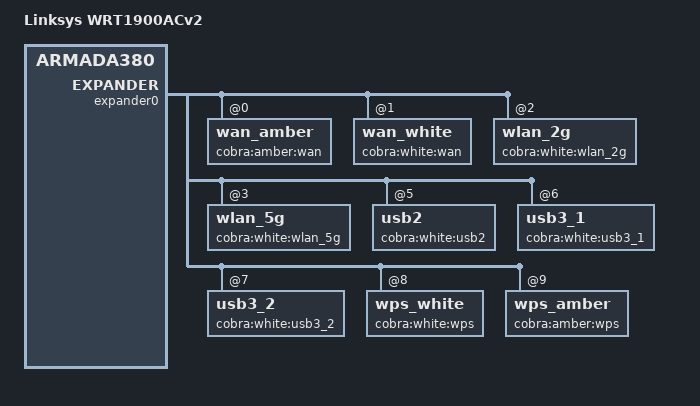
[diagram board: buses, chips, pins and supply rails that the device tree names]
// SPDX-License-Identifier: (GPL-2.0 OR MIT)
/*
 * Device Tree file for the Linksys WRT1900ACv2 (Cobra)
 *
 * Copyright (C) 2015 Imre Kaloz <kaloz@openwrt.org>
 */

/dts-v1/;
#include "armada-385-linksys.dtsi"

/ {
	model = "Linksys WRT1900ACv2";
	compatible = "linksys,cobra", "linksys,armada385", "marvell,armada385",
		     "marvell,armada380";
};

&expander0 {
	wan_amber@0 {
		label = "cobra:amber:wan";
		reg = <0x0>;
	};

	wan_white@1 {
		label = "cobra:white:wan";
		reg = <0x1>;
	};

	wlan_2g@2 {
		label = "cobra:white:wlan_2g";
		reg = <0x2>;
	};

	wlan_5g@3 {
		label = "cobra:white:wlan_5g";
		reg = <0x3>;
	};

	usb2@5 {
		label = "cobra:white:usb2";
		reg = <0x5>;
	};

	usb3_1@6 {
		label = "cobra:white:usb3_1";
		reg = <0x6>;
	};

	usb3_2@7 {
		label = "cobra:white:usb3_2";
		reg = <0x7>;
	};

	wps_white@8 {
		label = "cobra:white:wps";
		reg = <0x8>;
	};

	wps_amber@9 {
		label = "cobra:amber:wps";
		reg = <0x9>;
	};
};

&gpio_leds {
	led-power {
		label = "cobra:white:power";
	};

	led-sata {
		label = "cobra:white:sata";
	};
};

&nand {
	/* 128MiB */
	partitions {
		compatible = "fixed-partitions";
		#address-cells = <1>;
		#size-cells = <1>;

		partition@0 {
			label = "u-boot";
			reg = <0x0000000 0x200000>;  /* 2MiB */
			read-only;
		};

		partition@100000 {
			label = "u_env";
			reg = <0x200000 0x40000>;    /* 256KiB */
		};

		partition@140000 {
			label = "s_env";
			reg = <0x240000 0x40000>;    /* 256KiB */
		};

		partition@900000 {
			label = "devinfo";
			reg = <0x900000 0x100000>;   /* 1MiB */
			read-only;
		};

		/* kernel1 overlaps with rootfs1 by design */
		partition@a00000 {
			label = "kernel1";
			reg = <0xa00000 0x2800000>;  /* 40MiB */
		};

		partition@1000000 {
			label = "rootfs1";
			reg = <0x1000000 0x2200000>;  /* 34MiB */
		};

		/* kernel2 overlaps with rootfs2 by design */
		partition@3200000 {
			label = "kernel2";
			reg = <0x3200000 0x2800000>; /* 40MiB */
		};

		partition@3800000 {
			label = "rootfs2";
			reg = <0x3800000 0x2200000>; /* 34MiB */
		};

		/*
		 * 38MiB, last MiB is for the BBT, not writable
		 */
		partition@5a00000 {
			label = "syscfg";
			reg = <0x5a00000 0x2600000>;
		};

		/*
		 * Unused area between "s_env" and "devinfo".
		 * Moved here because otherwise the renumbered
		 * partitions would break the bootloader
		 * supplied bootargs
		 */
		partition@180000 {
			label = "unused_area";
			reg = <0x280000 0x680000>;   /* 6.5MiB */
		};
	};
};
